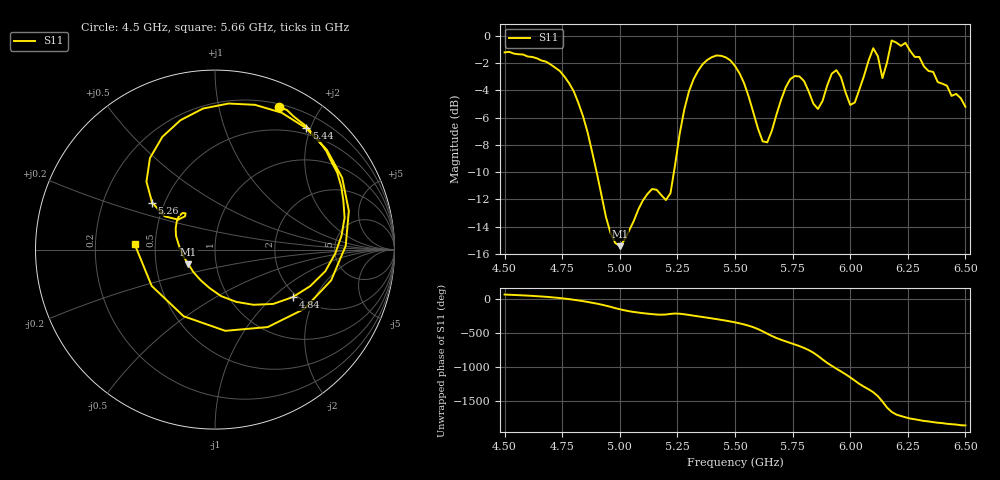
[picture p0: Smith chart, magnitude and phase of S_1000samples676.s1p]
! TOUCHSTONE file generated by CST MICROWAVE STUDIO
! Date and time: Sat Oct 29 00:08:58 2022
! Project name: L.cst
! Parameters = {Di=1.27; Epsilon_r=1.56; InnerDiameter=1.27; Length=2; Lf=10; Lg=60; OuterConductorThickness=0.2921; OuterDiameter=3.6; Wf=3; Wp=41.2; de=1.5; df=6.8; g=0.8; gx=4.71309; gy=0.698917; h=2.34; hf=1.524; px=13.3621; py=13.6513; w=9.7; wx=8.64901; wy=12.9524}
! Header version: 2018
! Port assignment regex: !\s*Touchstone port\s*([0-9]+)\s*=\s*(CST MWS port|CST DS port)\s*([0-9]+|Zmin|Zmax)\s*\(\"(.*)\"\)(\s*mode\s*([0-9]+))?.*
! Touchstone port assignment:
! Touchstone port 1 = CST MWS port 1 ("")
# GHz S DB R 50
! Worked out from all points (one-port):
!   101 points, 4.5 GHz to 6.5 GHz, reference 50 ohm
!   lowest |S11| = -15.4 dB at 5 GHz (marker M1), VSWR 1.41, Z = 36.7 - j6.16 ohm
!   |S11| at or under -10 dB: 4.899 GHz to 5.235 GHz (335.5 MHz wide, 6.62 % of centre)
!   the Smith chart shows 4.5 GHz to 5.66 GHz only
!   S11 on the Smith chart (normalised r, x): 4.5 GHz: 0.23, +1.52; 4.84 GHz: 1.90, -1.36; 5.26 GHz: 0.43, +0.28; 5.44 GHz: 0.41, +1.93; 5.66 GHz: 0.38, +0.03
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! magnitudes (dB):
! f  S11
! 4.5 GHz  -1.2
! 4.76 GHz  -3.0
! 4.84 GHz  -5.9
! 4.94 GHz  -13.3
! 5 GHz  -15.4
! 5.14 GHz  -11.2
! 5.2 GHz  -12.1
! 5.22 GHz  -11.5
! 5.26 GHz  -7.2
! 5.3 GHz  -4.1
! 5.34 GHz  -2.5
! 5.44 GHz  -1.5
! 5.5 GHz  -2.2
! 5.54 GHz  -3.5
! 5.62 GHz  -7.7
! 5.66 GHz  -7.0
! 5.72 GHz  -3.8
! 5.76 GHz  -2.9
! 5.8 GHz  -3.3
! 5.86 GHz  -5.4
! 5.94 GHz  -2.5
! 6 GHz  -5.1
! 6.02 GHz  -4.9
! 6.1 GHz  -0.9
! 6.14 GHz  -3.1
! 6.18 GHz  -0.3
! 6.26 GHz  -1.1
! 6.5 GHz  -5.2
